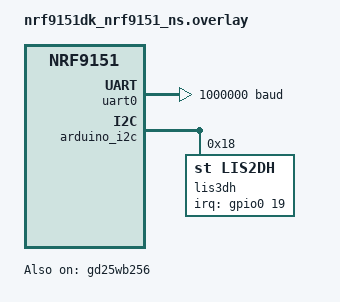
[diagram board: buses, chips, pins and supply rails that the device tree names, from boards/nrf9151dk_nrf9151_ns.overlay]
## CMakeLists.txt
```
cmake_minimum_required(VERSION 3.20.0)
find_package(Zephyr REQUIRED HINTS $ENV{ZEPHYR_BASE})
project(tracker)

target_sources(app PRIVATE
  src/main.c
  src/loc/loc_fsm.c
  src/loc/motion.c
  src/loc/imu.c
  src/loc/agnss.c
  src/modem/cell_info.c
  src/modem/gnss_ctrl.c
  src/modem/lte_ctrl.c
  src/sys/guard.c
  src/net/coap_pub.c
  src/net/obs_queue.c
  src/net/event_queue.c
  src/net/uplink.c
  src/net/log_uplink.c
  src/ui/leds.c
  # Generated from proto/tracker.proto by `make proto` — do not edit.
  src/proto/tracker.pb.c
)
target_include_directories(app PRIVATE src/loc src/modem src/net src/proto src/sys src/ui)

if(CONFIG_TRACKER_FLOG)
  target_sources(app PRIVATE src/flog/flog.c)
  target_include_directories(app PRIVATE src/flog)
endif()

if(NOT CONFIG_NRF_MODEM_LIB)
  # Nordic headers are not on the include path when NRF_MODEM_LIB=n.
  # Add them explicitly so main.c and the mock files can include them.
  target_include_directories(app PRIVATE
    $ENV{ZEPHYR_BASE}/../nrfxlib/nrf_modem/include
    $ENV{ZEPHYR_BASE}/../nrf/include
    $ENV{ZEPHYR_BASE}/scripts/native_simulator/common/src/include
  )
  # lte_lc.h gates event types and struct members behind Kconfig symbols.
  # Define the ones main.c uses so the header exposes them correctly.
  # hw_id.h gates HW_ID_LEN behind the source symbol — pick IMEI (len 16).
  target_compile_definitions(app PRIVATE
    CONFIG_LTE_LC_NETWORK_REGISTRATION_MODULE=1
    CONFIG_LTE_LC_PSM_MODULE=1
    CONFIG_LTE_LC_MODEM_EVENTS_MODULE=1
    CONFIG_HW_ID_LIBRARY_SOURCE_IMEI=1
  )
  target_sources(app PRIVATE
    src/lib/nrf_modem_mock/nrf_modem_mock.c
    src/lib/nrf_modem_mock/lte_lc_mock.c
  )
endif()
```

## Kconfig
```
menu "Tracker"

config TRACKER_LOG_LEVEL
	int "Compiled-in log level (0=off 1=ERR 2=WRN 3=INF 4=DBG)"
	default 4
	range 0 4
	help
	  The ceiling COMPILED INTO the binary for the tracker's own modules —
	  levels above it do not exist at runtime and no backend or shell
	  command can bring them back. 4 keeps the DBG chatter (status blocks,
	  satellite tables, RRC edges) available: UART shows it by default and
	  the shell can silence it; the uplink backend has its own quieter
	  threshold (TRACKER_LOG_UPLINK_LEVEL) so none of it hits the wire.

config TRACKER_POST_INTERVAL_S
	int "GPS sample interval in seconds"
	default 1
	range 1 3600
	help
	  How often a GPS fix is queued while reporting. 1 Hz matches the GNSS
	  PVT rate and costs ~7 B/point on the wire as track-segment deltas;
	  the flush cadence, not this, decides how often the radio wakes.

config TRACKER_GPS_STALE_S
	int "Seconds since last GPS fix before it's considered stale (use cell)"
	default 30
	range 10 3600

config TRACKER_SERVER_HOST
	string "CoAP server hostname or IP"
	default "127.0.0.1"
	help
	  Where observations are POSTed (coap://HOST:PORT/obs). The default suits
	  the native_sim demo; hardware builds set it via .env
	  (TRACKER_SERVER_HOST).

config TRACKER_SERVER_PORT
	int "CoAP server UDP port"
	default 5683
	range 1 65535

config TRACKER_LOC_CN0_MIN_DBHZ
	int "C/N0 floor for a satellite to count as usable (dB-Hz)"
	default 27
	range 15 45
	help
	  Below roughly 27 dB-Hz a satellite can be tracked but its navigation
	  message cannot be demodulated, so it never yields an ephemeris. Used to
	  decide whether the sky is worth taking the radio away from LTE for.

config TRACKER_FLUSH_INTERVAL_S
	int "Uplink flush interval in seconds"
	default 120
	range 10 3600
	help
	  The slow-path timer: uplink drains all sources at least this often
	  when the radio is allowed. Fullness and urgent events flush sooner.

config TRACKER_LOG_UPLINK_LEVEL
	int "Max log level shipped over LTE (1=ERR 2=WRN 3=INF 4=DBG)"
	default 3
	range 1 4
	help
	  Lines at or below this level are queued for uplink delivery. INF is
	  deliberately quiet (a handful of lines per 10 min); DBG would be
	  chatty and is meant for UART/shell use.

config TRACKER_LOG_WAKE_MIN_S
	int "Minimum seconds between log-triggered radio wakes"
	default 60
	range 5 3600
	help
	  A WRN+ log line requests an urgent uplink flush; this rate limit
	  stops an error loop from chattering the radio (and starving GNSS).

config TRACKER_LOG_UPLINK_RING_LINES
	int "Log-uplink ring capacity (lines)"
	default 128
	range 16 1024
	help
	  How many log lines queue in RAM while the radio is unavailable
	  (LTE outage, GNSS_EXCLUSIVE). ~120 B per line. Overflow drops the
	  oldest and reports the count in-band; the flash flight recorder
	  (phase 2) is the durable tier.

config TRACKER_FLOG
	bool "Flash flight recorder (circular log on the flight_log partition)"
	default y
	depends on FLASH_MAP
	help
	  Land every compiled log line in a circular flash log (FCB on the
	  fixed-partition "flight_log": 8 MB external NOR on the DK, 1 MB
	  flash_simulator on native_sim) surviving reboot and power loss.
	  Extraction via shell (`flog dump/stats`). Born from the 2026-07-17
	  wedge: 45 h of field silence whose diagnosis existed only in the
	  DBG stream nobody was recording.

config TRACKER_FLOG_LEVEL
	int "Max log level recorded to flash (1=ERR 2=WRN 3=INF 4=DBG)"
	default 4
	range 1 4
	depends on TRACKER_FLOG
	help
	  4 records everything the binary can say: ~5 days on the DK's 8 MB
	  ring at a realistic parked/riding mix, ~9 days parked (measured
	  line sizes, see flog.c). 3 stretches it to ~85 days if capacity
	  ever beats detail.

config TRACKER_FLOG_RING_LINES
	int "Flight-recorder RAM staging ring (lines)"
	default 64
	range 16 512
	depends on TRACKER_FLOG
	help
	  Lines buffered between the log backend (any thread; immediate
	  mode) and the flash drain thread, ~120 B each. Must absorb log
	  bursts across a sector-rotate erase (~1-2 s); overflow drops
	  oldest and is counted in `flog stats`.

config TRACKER_FLOG_SECTORS
	int "Flight-recorder logical sector count"
	default 32
	range 2 64
	depends on TRACKER_FLOG
	help
	  The ring rotates (erases) one logical sector at a time; each is
	  partition_size / this. More sectors = finer-grained reclaim but a
	  bigger RAM descriptor array and more frequent erase pauses.

config TRACKER_CELL_POST_INTERVAL_S
	int "Cell publish interval while GNSS has no usable sky (seconds)"
	default 30
	range 15 3600
	help
	  Deliberately slower than the normal publish interval: the gaps between
	  cell publishes are what let GNSS observe satellites, so leaving that
	  no-sky state is signal-driven rather than a blind retry timer. Below
	  ~15 s the gaps are too short for GNSS to sense anything.

config TRACKER_LOC_ACQUIRE_TIMEOUT_S
	int "Give up a quiet GNSS acquisition window after this long"
	default 300
	range 60 1800
	help
	  Bounds how long the tracker may go silent hunting ephemeris under a
	  partial sky. A product decision, not a technical one: cold start may
	  simply never complete indoors.

config TRACKER_LOC_SKY_EMPTY_EPOCHS
	int "Observed epochs with zero satellites before declaring the sky empty"
	default 5
	range 2 60
	help
	  Counted only over epochs where GNSS actually had the radio (blanked
	  epochs count toward neither verdict). Abandons an acquisition under a
	  truly empty sky (indoors, Faraday cage); a 30 s cold-start grace at
	  acquisition entry keeps a warming receiver from tripping it.

config TRACKER_MOTION_RADIUS_M
	int "Parked radius in metres"
	default 25
	range 10 200
	help
	  A fix farther than this from the parked centroid means the device
	  moved. Must sit above open-sky GPS jitter (~5-15 m) with margin;
	  below ~25 m indoor multipath causes spurious wakes (each one costs
	  a radio wake and a 5-minute re-entry wait, nothing worse).

config TRACKER_MOTION_ENTRY_S
	int "Seconds of dwell before declaring the device stationary"
	default 300
	range 60 3600
	help
	  Hysteresis against premature quiescence: getting a bike ready for
	  a ride is a few minutes of standing still and must not park the
	  tracker. Exit needs no hysteresis (one out-of-radius fix wakes it).

config TRACKER_QUIESCENT_CHECK_S
	int "Parked-with-fix position check interval (seconds)"
	default 120
	range 30 3600
	help
	  GNSS periodic-mode interval while parked with a held fix. Each
	  check is a hot start (1-3 s awake); the next check after the bike
	  moves is what detects theft, so this bounds detection latency.

config TRACKER_QUIESCENT_FLUSH_S
	int "Uplink flush interval while parked (seconds)"
	default 1200
	range 120 7200
	help
	  Radio wakes are the parked data cost (47 B datagram overhead plus
	  RRC signalling); 20 min x ~30 B check points ~= 25 KB/day parked
	  vs ~600 KB/day at the moving cadence. Motion still flushes
	  urgently via the FSM state change.

config TRACKER_REST_HEARTBEAT_S
	int "Parked-no-fix heartbeat interval (seconds)"
	default 1200
	range 120 7200
	help
	  A cell fix at this cadence is the only traffic while resting: it
	  says "alive, still on this tower". ~72/day ~= 5 KB/day. Anything
	  denser is negative information next to the last known GPS position.

config TRACKER_REST_BACKOFF_MIN_S
	int "First GNSS retry delay in REST (seconds)"
	default 300
	range 60 3600
	help
	  The periodic-mode interval on entering REST; doubles after each
	  empty check up to TRACKER_REST_BACKOFF_MAX_S. A cell-set change or
	  motion resets it.

config TRACKER_REST_BACKOFF_MAX_S
	int "Backoff ceiling for GNSS retries in REST (seconds)"
	default 1800
	range 300 14400
	help
	  Worst-case delay before a parked-indoors tracker notices the sky
	  returned on its own (carrying it outside usually exits sooner via
	  the cell change).

config TRACKER_AGNSS
	bool "Fetch A-GNSS assistance from the tracker server"
	default y
	help
	  Pull ephemeris/time/location assistance over the existing CoAP
	  socket (POST /agnss) and inject it with nrf_modem_gnss_agnss_write.
	  Turns minutes of 50 bps ephemeris demodulation (which motion keeps
	  corrupting) into a ~1 KB download. Best-effort: with the server
	  unreachable, behaviour is identical to this option being off.

config TRACKER_AGNSS_MIN_HEALTHY
	int "Fetch when fewer GPS satellites than this have usable ephemeris"
	default 8
	depends on TRACKER_AGNSS
	help
	  The drive-gap failure mode was a 4-5 satellite inventory losing
	  line-of-sight to one or two of them. 8 keeps headroom: any 4 of 8
	  visible is nearly always true under open sky.

config TRACKER_AGNSS_MIN_LEFT_MIN
	int "Minutes of remaining ephemeris validity to count as usable"
	default 30
	depends on TRACKER_AGNSS
	help
	  An ephemeris about to lapse is not worth counting: refreshing at
	  30 min remaining costs one ~1 KB fetch instead of a cold start.

config TRACKER_AGNSS_COOLDOWN_S
	int "Seconds between successful assistance fetches"
	default 1800
	depends on TRACKER_AGNSS
	help
	  Upper bound on fetch rate. Typical day: boot + every ~2 h while
	  tracking ~= 8-12 fetches ~= 12 KB/day (~0.35 MB/mo); this floor
	  caps the pathological case at 48/day (~1.6 MB/mo).

config TRACKER_OBS_FLUSH_PENDING
	int "Queued GPS points that force a flush (pressure valve)"
	default 300
	range 60 1800
	help
	  NOT the send cadence — that is TRACKER_FLUSH_INTERVAL_S, which
	  batches several 50-point segments into ONE radio session (each
	  session's fixed RRC hold chops GNSS for ~5-10 s regardless of
	  payload, so fewer+fatter sessions = fewer track holes AND fewer
	  billed sessions). This threshold only guards the ring under real
	  pressure. 300 points = 5 min of 1 Hz.

config TRACKER_LTE_CHECKPOINT
	bool "Persist modem network state at the first parked entry"
	default y
	help
	  The modem writes its network history (band, channel, PLMN, GNSS
	  data) to its own NVM only on CFUN=0 — which abrupt resets never
	  perform, making every cold boot a full scan (~90 s measured vs
	  ~35 s warm). Once per boot, when the tracker first parks, cycle
	  CFUN 0->1: one re-attach at an idle moment buys the next reset a
	  warm attach. Shell: `checkpoint on|off`.

config TRACKER_GUARD_WDT_S
	int "Main-loop watchdog timeout (seconds)"
	default 120
	range 30 600
	help
	  A loop pass that takes longer than this reboots the SoC (task_wdt;
	  see src/sys/guard.c). Two field freezes (2026-07-17, 2026-07-21)
	  wedged the loop inside blocking modem calls for hours. Must exceed
	  the longest legitimate stall: the 8 s A-GNSS exchange, DNS over a
	  fresh PDN, and the LTE checkpoint's CFUN cycle. 120 s is generous;
	  a frozen tracker recovers ~90 s sooner than any human would notice.

config TRACKER_SIM_DEVICE_ID
	string "native_sim fallback device ID"
	default "sim-dev-1"
	help
	  Used by the native_sim hw_id_get() stub when the TRACKER_DEVICE_ID
	  environment variable is unset. Ignored on hardware (IMEI is used).

endmenu

menu "Zephyr Kernel"
source "Kconfig.zephyr"
endmenu
```

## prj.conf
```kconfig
# TF-M: minimal profile (no bootloader partition)
CONFIG_TFM_PROFILE_TYPE_MINIMAL=y

# General
CONFIG_FPU=y
CONFIG_STDOUT_CONSOLE=y
CONFIG_UART_INTERRUPT_DRIVEN=y
CONFIG_PICOLIBC_IO_FLOAT=y

# Logging. Compile-in DBG for our modules (4): UART shows the full chatter,
# the uplink backend's own INF threshold keeps it off the wire, and the
# shell's `log` commands (LOG_CMDS) adjust levels at runtime.
CONFIG_LOG=y
CONFIG_LOG_MODE_IMMEDIATE=y
CONFIG_TRACKER_LOG_LEVEL=4
CONFIG_LOG_CMDS=y
CONFIG_LTE_LINK_CONTROL_LOG_LEVEL_INF=y
CONFIG_NRF_MODEM_LIB_LOG_LEVEL_WRN=y

# Modem
CONFIG_NRF_MODEM_LIB=y

# RAT preference: NB-IoT first. Modem-trace forensics (2026-07-12, on the
# tested setup: an NB-IoT-only roaming profile) showed the default
# LTE-M-first preference makes every boot hunt LTE-M, fail, and sleep
# ~60 s before trying NB — the whole "attach wall". Both RATs stay
# ENABLED (PLMN priority keeps roaming sane where LTE-M exists); only the
# search order flips, so this default is harmless on LTE-M networks too.
CONFIG_LTE_MODE_PREFERENCE_NBIOT_PLMN_PRIO=y

# Device ID: use the modem IMEI
CONFIG_HW_ID_LIBRARY=y
CONFIG_HW_ID_LIBRARY_SOURCE_IMEI=y

# LTE Link Control: persistent connection. The SIM-provider APN is NOT
# hardcoded here — set TRACKER_APN in .env (see mk/fw.mk); empty uses the
# SIM's own default APN.
CONFIG_LTE_LINK_CONTROL=y
CONFIG_LTE_LC_PSM_MODULE=y
CONFIG_LTE_PSM_REQ=y
CONFIG_LTE_PSM_REQ_RPTAU="00101000"
CONFIG_LTE_PSM_REQ_RAT="00000011"
CONFIG_LTE_LC_PDN_MODULE=y
# Modem observability: %MDMEV events (search phases, reset loops, CE level)
# surface as LTE_LC_EVT_MODEM_EVENT and ship over the log uplink — the
# fine-grained view of what "searching" is actually doing.
CONFIG_LTE_LC_MODEM_EVENTS_MODULE=y
# Search-scheduling experiment: front-load retry attempts after a failed
# boot search (measured: light search fails at +9 s, modem then idles ~60 s
# before the full search that succeeds in 6 s).
CONFIG_LTE_LC_PERIODIC_SEARCH_MODULE=y
# %XSIM notifications time SIM readiness — attributes the boot gap.
CONFIG_AT_MONITOR=y

# RAI: SO_RAI(RAI_LAST) goes on the CoAP UDP socket right before each send, so
# the modem asks the network to release RRC as soon as the datagram is out.
# Over UDP nothing comes back, so the release really is immediate (unlike the
# old TCP path, where the broker's ACK held RRC up afterwards).
CONFIG_LTE_LC_RAI_MODULE=y
CONFIG_LTE_RAI_REQ=y

# Networking: offloaded IP via modem (UDP only — no TCP since MQTT left)
CONFIG_NETWORKING=y
CONFIG_NET_SOCKETS=y
CONFIG_NET_SOCKETS_OFFLOAD=y
CONFIG_NET_NATIVE=n
CONFIG_NET_IPV4=y
CONFIG_POSIX_API=y

# CoAP over UDP: non-confirmable POSTs for observations, confirmable for the
# A-GNSS exchange; protobuf payloads (proto/tracker.proto, encoded with
# nanopb). No connection and no keepalive — UDP is silent between sends,
# which is what keeps GNSS acquisition windows intact without any keepalive
# tuning.
CONFIG_COAP=y
CONFIG_NANOPB=y

# State at a glance on the DK's four user LEDs (see src/ui/leds.h).
CONFIG_GPIO=y

# Flash flight recorder (src/flog): every compiled log line into a circular
# flash log on the flight_log partition — the durable tier under the RAM
# log-uplink ring. FCB is the in-tree circular-buffer-on-flash primitive.
CONFIG_FLASH=y
CONFIG_FLASH_MAP=y
CONFIG_FCB=y

# Shell on the console: runtime per-module log levels (`log enable dbg
# loc_fsm`) — the clear/set-level/test/inspect workflow with no custom
# protocol. Runtime filtering is what makes the `log` commands real.
CONFIG_SHELL=y
CONFIG_LOG_RUNTIME_FILTERING=y

# Memory
CONFIG_HEAP_MEM_POOL_SIZE=8192
CONFIG_MAIN_STACK_SIZE=4096
CONFIG_SYSTEM_WORKQUEUE_STACK_SIZE=2048

# Accelerometer (LIS3DH on the Arduino-header I2C, see boards/ overlay and
# loc/imu.c): the parked wake source. The global-thread trigger delivers
# the any-motion interrupt.
CONFIG_I2C=y
CONFIG_SENSOR=y
CONFIG_LIS2DH_TRIGGER_GLOBAL_THREAD=y
```

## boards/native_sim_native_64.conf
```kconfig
# native_sim/native/64: NSOS — zsock_* run against the host kernel.
# No TAP interface, no root, no net-setup required.

# Disable real modem — link-seam mocks fill all missing symbols
CONFIG_NRF_MODEM_LIB=n
CONFIG_LTE_LINK_CONTROL=n
CONFIG_TFM_PROFILE_TYPE_MINIMAL=n

# hw_id: real library needs the modem; mock provides hw_id_get() instead
CONFIG_HW_ID_LIBRARY=n
CONFIG_HW_ID_LIBRARY_SOURCE_IMEI=n

# Suppress prj.conf LTE/modem symbols that don't exist without LTE_LINK_CONTROL
CONFIG_LTE_LC_PSM_MODULE=n
CONFIG_LTE_LC_PDN_MODULE=n
CONFIG_LTE_PSM_REQ=n
CONFIG_LTE_LC_PDN_DEFAULTS_OVERRIDE=n

# Disable hardware-specific configs not valid on host
CONFIG_FPU=n
CONFIG_UART_INTERRUPT_DRIVEN=n

# NSOS networking: offload sockets to host BSD socket calls
CONFIG_NETWORKING=y
CONFIG_NET_DRIVERS=y
CONFIG_NET_SOCKETS=y
CONFIG_NET_SOCKETS_OFFLOAD=y
CONFIG_NET_NATIVE_OFFLOADED_SOCKETS=y
CONFIG_ETH_NATIVE_TAP=n
CONFIG_NET_L2_ETHERNET=n
CONFIG_NET_IPV6_DAD=n

# RAI is modem-only; suppress the prj.conf symbols (LTE_LINK_CONTROL=n here)
CONFIG_LTE_LC_RAI_MODULE=n
CONFIG_LTE_RAI_REQ=n

# at_monitor needs real modem headers; %XSIM timing is hardware-only.
CONFIG_AT_MONITOR=n

# Flight recorder on the host: sim-flash driver backs the flight_log
# partition (see the .overlay). RAM-backed per run; --flash_in=/--flash=
# args persist it across "reboots" when a test wants that.
CONFIG_FLASH_SIMULATOR=y
```

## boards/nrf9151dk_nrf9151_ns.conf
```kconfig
# DK-only drivers for the flight recorder's flash: the GD25WB256 NOR hangs
# off SPI3 (see the overlay). SFDP parameters come from the devicetree
# sfdp-bfp blob the board dts ships — no runtime SFDP read on every boot.
CONFIG_SPI=y
CONFIG_SPI_NOR=y
CONFIG_SPI_NOR_SFDP_DEVICETREE=y

# guard (src/sys/guard.c): task watchdog on the main loop + labeled reboots.
# Hardware-only: two field freezes (2026-07-17, 2026-07-21) wedged the loop
# and modem callbacks at 12-14 h uptime with nothing to catch it. native_sim
# stays unguarded (sys_reboot there ends the process; the sim's failure
# modes are ours to see live).
CONFIG_WATCHDOG=y
CONFIG_TASK_WDT=y
CONFIG_REBOOT=y
# A modem-core crash reboots the SoC with a named note instead of leaving
# every nrf_modem call blocking forever (the default is DO_NOTHING).
CONFIG_NRF_MODEM_LIB_ON_FAULT_APPLICATION_SPECIFIC=y
```

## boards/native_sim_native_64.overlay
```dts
/* Flight recorder on the simulator: the board's 2 MB sim-flash only maps
 * partitions over its first half (mcuboot/slots/storage, unused by this
 * app) — the second megabyte is free, so the flight_log ring claims it.
 * Same node label as the hardware overlay: src/flog binds by label. */
&flash0 {
	partitions {
		flight_log: partition@100000 {
			label = "flight-log";
			reg = <0x00100000 0x00100000>;
		};
	};
};
```

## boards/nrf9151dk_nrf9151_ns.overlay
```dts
/* No MCUboot — TF-M boots directly */
#include <samples/cellular/nrf91_no_bootloader_partitions.dtsi>
#include <samples/cellular/nrf91_sram_partitions.dtsi>

/* Console at 1 Mbaud: 115200 (~11.5 KB/s) is fine for live logging but a
 * wall for forensic dumps — the 2 MB flight-recorder tape took ~3 min, and
 * a future 24 MB modem-trace dump would take ~35. The DK's interface MCU
 * bridges 1 M happily (Nordic's own modem-trace UART runs at 1 M through
 * it). make uart matches (BAUD in mk/fw.mk); a default-115200 terminal
 * shows garbage until told otherwise. */
&uart0 {
	current-speed = <1000000>;
};

/* Adafruit LIS3DH accelerometer (the parked wake source — see loc/imu.c):
 *   SDA -> P0.30 (D14), SCL -> P0.31 (D15), VIN -> VDD, INT1 -> P0.19 (A5).
 * SDO/CS untouched: breakout defaults = I2C mode, address 0x18. Absent
 * chip is fine — imu_init() fails and the tracker runs legacy parked mode.
 * anym-mode stays OR (default): imu.c routes the HP filter into the INT
 * engine (CTRL_REG2 poke), so gravity never reaches the comparator; 6D
 * modes were bench-rejected (blind to tumbling between orientation zones).
 */
/* INT1 shares Button 4 (P0.19); disable it so the sensor owns the line. */
&button3 {
	status = "disabled";
};

&arduino_i2c {
	status = "okay";
	lis3dh: lis3dh@18 {
		compatible = "st,lis2dh";
		reg = <0x18>;
		irq-gpios = <&gpio0 19 GPIO_ACTIVE_HIGH>;
		anym-on-int1;
	};
};

/* The DK's on-board 32 MB NOR (GD25WB256, SPI3): flight recorder ring in
 * the first 8 MB; 0x800000..0x2000000 deliberately unallocated — reserved
 * for the Phase-2 obs spill. Layout is hardcoded here on purpose (no GPT):
 * this devicetree IS the partition table. */
&gd25wb256 {
	status = "okay";
	partitions {
		compatible = "fixed-partitions";
		#address-cells = <1>;
		#size-cells = <1>;

		flight_log: partition@0 {
			label = "flight-log";
			reg = <0x00000000 0x00800000>;
		};
	};
};
```

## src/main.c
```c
/*
 * nRF9151 GPS tracker — active mode
 *
 * loc_fsm decides who gets the shared radio (GNSS vs LTE) and what to publish;
 * this file executes that policy: modem bring-up and the publish loop. Reports
 * go as protobuf (proto/tracker.proto, encoders generated by nanopb) in
 * non-confirmable CoAP POSTs over UDP — fire-and-forget like the old MQTT
 * QoS 0, but ~4x cheaper on air and with no TCP ACK tail holding RRC open.
 * LTE registers once at boot and stays registered — PSM parks the radio between
 * sends, which is what gives GNSS its acquisition windows.
 */

#include <stdio.h>
#include <stdlib.h>
#include <string.h>
#include <errno.h>
#include <math.h>
#include <zephyr/kernel.h>
#include <zephyr/logging/log.h>
#include <nrf_modem_gnss.h>
#include <modem/nrf_modem_lib.h>
#include <hw_id.h>

#include "loc_fsm.h"
#include "motion.h"
#include "imu.h"
#include "agnss.h"
#include "cell_info.h"
#include "gnss_ctrl.h"
#include "lte_ctrl.h"
#include "coap_pub.h"
#include "obs_queue.h"
#include "event_queue.h"
#include "uplink.h"
#include "log_uplink.h"
#include "leds.h"
#include "guard.h"
#ifdef CONFIG_TRACKER_FLOG
#include "flog.h"
#endif

LOG_MODULE_REGISTER(tracker, CONFIG_TRACKER_LOG_LEVEL);

/* ── configuration ──────────────────────────────────────────────── */
#define SERVER_HOST       CONFIG_TRACKER_SERVER_HOST
#define SERVER_PORT       CONFIG_TRACKER_SERVER_PORT

#define POST_INTERVAL_MS  (CONFIG_TRACKER_POST_INTERVAL_S * 1000)
#define STATUS_INTERVAL_MS 5000
/* GPS staleness now lives in loc_fsm, which owns the fix bookkeeping. */
#define NET_RETRY_MS      10000  /* between socket-setup attempts */
/* Flush cadence and all other send policy live in uplink now. */

/* ── state ───────────────────────────────────────────────────────── */
static char device_id[HW_ID_LEN];

/* ── status block ─────────────────────────────────────────────────  */
static void print_status(const struct nrf_modem_gnss_pvt_data_frame *p,
			 const struct loc_status *loc,
			 const struct ephe_inventory *inv, int64_t uptime_ms,
			 bool gnss_live)
{
	LOG_DBG("===== status @ %llds =====", (long long)(uptime_ms / 1000));

	/* LTE status: registration state + serving-cell details (same cached
	 * AT%XMONITOR read used for the cell-location fallback). */
	struct serving_cell sc;

	if (cell_info_read(&sc) == 0 && sc.valid) {
		LOG_DBG("LTE:  %s | op %s | band %d | cell %u | RSRP %d dBm",
			lte_ctrl_status_str(), sc.op, sc.band, sc.cid,
			sc.rsrp_dbm);
	} else {
		LOG_DBG("LTE:  %s", lte_ctrl_status_str());
	}

	/* GNSS status. With the receiver stopped, the pvt buffer is a frozen
	 * frame — narrating it as "searching" misled a live debug session. */
	if (!gnss_live) {
		LOG_DBG("GNSS: off");
	} else if (p->flags & NRF_MODEM_GNSS_PVT_FLAG_FIX_VALID) {
		LOG_DBG("GNSS: FIX  %.6f, %.6f  alt %.1fm  acc %.1fm  sats %u/%u",
			p->latitude, p->longitude,
			(double)p->altitude, (double)p->accuracy,
			loc->used, loc->tracked);
	} else {
		LOG_DBG("GNSS: searching  flags 0x%02x", p->flags);
		/* These two mean different things and want different fixes:
		 *   DEADLINE_MISSED        no window at all since the last PVT — LTE
		 *                          is transmitting; only backing off LTE helps.
		 *   NOT_ENOUGH_WINDOW_TIME windows exist but are too short — the case
		 *                          nrf_modem_gnss_prio_mode_enable() is for.
		 *
		 * Both are CONDITIONS, not events: they persist for minutes during
		 * LTE/GNSS contention, and per-pass WRNs would flood the uplink
		 * (dozens of lines per episode). Log the edges — onset at WRN,
		 * clear at INF — and leave the per-pass view to the DBG flags line
		 * above. Same pattern as the gnss_blocked edge. */
		static bool no_window_prev, short_window_prev;
		bool no_window = p->flags & NRF_MODEM_GNSS_PVT_FLAG_DEADLINE_MISSED;
		bool short_window =
			p->flags & NRF_MODEM_GNSS_PVT_FLAG_NOT_ENOUGH_WINDOW_TIME;

		/* These edges diagnose LTE/GNSS contention during CONTINUOUS
		 * tracking. In periodic mode every uplink flush trivially chops
		 * the sleeping receiver — the overnight parked log was 137 WRNs
		 * of exactly that. Meaningless there; don't evaluate. */
		if (loc->gnss_mode != LOC_GNSS_CONTINUOUS) {
			no_window_prev = no_window;
			short_window_prev = short_window;
		} else {
			if (no_window != no_window_prev) {
				no_window_prev = no_window;
				if (no_window) {
					LOG_WRN("GNSS: no window since last PVT (LTE active)");
				} else {
					LOG_INF("GNSS: windows back");
				}
			}
			if (short_window != short_window_prev) {
				short_window_prev = short_window;
				if (short_window) {
					LOG_WRN("GNSS: windows too short (no PSM/eDRX?)");
				} else {
					LOG_INF("GNSS: window length ok");
				}
			}
		}
	}
	loc_fsm_log(loc, p, inv);

	int psm_tau_s, psm_active_s;

	lte_ctrl_psm(&psm_tau_s, &psm_active_s);
	if (psm_active_s < 0) {
		LOG_DBG("LTE:  RRC %s | PSM not granted",
			lte_ctrl_rrc_connected() ? "connected" : "idle");
	} else {
		LOG_DBG("LTE:  RRC %s | PSM TAU %ds active %ds",
			lte_ctrl_rrc_connected() ? "connected" : "idle",
			psm_tau_s, psm_active_s);
	}

	/* PDN state next to socket state, so a "no socket" that is really
	 * "PDN not up yet" is obvious in the log. */
	LOG_DBG("net:  %s | pdn %s", coap_pub_ready() ? "ready" : "no socket",
		lte_ctrl_pdn_active() ? "active" : "down");
}

/* Send-health policy (the uplink liveness watchdog): the offloaded send is
 * bounded by SO_SNDTIMEO, so a wedged modem surfaces as timeout errors from
 * uplink_poll instead of a frozen loop. Episode shape, agreed 2026-07-23:
 * first timeout = one WRN + a modem post-mortem (%CONEVAL/+CEER/+CEREG into
 * flash — may itself hang, which the watchdog turns into its own evidence);
 * a second consecutive timeout = the modem answers nothing a reset would
 * not fix faster — guard reboot with a named note. A success in between
 * closes the episode at INF. Only timeout errnos escalate: encode bugs and
 * socket races are not modem death. */
static uint8_t send_fail_streak;

/* A datagram left the device: pulse the TX LED, stamp the RRC-tail
 * measurement, and tell the FSM when the coarse position is on the map (it
 * holds the radio for GNSS until the boot cell report is out). */
static void on_uplink_sent(uint32_t kinds_mask)
{
	leds_tx_pulse();
	lte_ctrl_note_publish(k_uptime_get());
	if (kinds_mask & UPLINK_KIND_CELL) {
		loc_fsm_note_cell_sent();
	}
	if (send_fail_streak) {
		send_fail_streak = 0;
		LOG_INF("uplink sends recovered");
	}
}

/* ── main ─────────────────────────────────────────────────────────  */
int main(void)
{
	int err;

	/* Flight recorder first: the boot lines below are exactly the ones a
	 * post-mortem wants. Failure leaves it offline, never blocks boot. */
#ifdef CONFIG_TRACKER_FLOG
	(void)flog_init();
#endif

	LOG_INF("tracker starting");
	/* Right after the boot identity: if the last session died (watchdog,
	 * modem fault), its death certificate is the next line out. */
	guard_init();

	err = nrf_modem_lib_init();
	if (err) {
		LOG_ERR("modem init: %d", err);
		return err;
	}

	/* Device identity: IMEI on hardware, env/Kconfig on native_sim */
	err = hw_id_get(device_id, sizeof(device_id));
	if (err) {
		LOG_ERR("hw_id_get: %d", err);
		return err;
	}
	LOG_INF("device id: %s", device_id);
	LOG_INF("server: coap://%s:%d/obs", SERVER_HOST, SERVER_PORT);
	/* Uplink owns the envelope + flush policy; obs store and the log ring
	 * register as its sources. GPS samples land at the publish interval —
	 * a track segment's time model (anchor + i*dt) is built on it. */
	uplink_init(device_id);
	uplink_on_sent(on_uplink_sent);
	obs_queue_init(POST_INTERVAL_MS);
	event_queue_init();
	log_uplink_init();
	agnss_set_device_id(device_id);
	leds_init();

	/* Start LTE async — don't block, status loop shows progress */
	LOG_INF("starting LTE (async)...");
	err = lte_ctrl_start();
	if (err) {
		return err;
	}

	/* Configure GNSS but do NOT start it yet. An unregistered modem runs a
	 * continuous cell search; GNSS running against that starves the search and
	 * gains nothing itself. loc_fsm starts it once LTE has registered. */
	err = gnss_ctrl_configure();
	if (err) {
		LOG_ERR("gnss configure: %d", err);
		return err;
	}
	bool gnss_blocked_prev = false;
	/* Snapshot of the most recent PVT frame with FIX_VALID set. The live `pvt`
	 * global only carries defined lat/lon while the flag is set, but the FSM
	 * lets us publish for up to GPS_STALE_S after the fix lapses -- those
	 * publishes must come from this copy, not from whatever an unfixed frame
	 * happens to contain. (static: ~700 B, keep off the main stack) */
	static struct nrf_modem_gnss_pvt_data_frame fix_pvt;
	int64_t fix_pvt_ms = 0; /* when fix_pvt was captured, for the age field */

	/* Wake-PVT forensics (phantom investigation, 2026-07-12): the
	 * receiver marks the first PVT after a duty-cycle sleep
	 * (SLEEP_BETWEEN_PVT) and frames from its self-scheduled ephemeris
	 * downloads (SCHED_DOWNLOAD) — exactly the epochs implicated in the
	 * 501 m time-true/position-stale point. Hold the newest one and log
	 * it when the FSM leaves a parked state, so departure points arrive
	 * pre-labeled: one INF line per departure, never per wake (a parked
	 * night has ~720 wakes; the wire budget says no). */
	static struct {
		int64_t ms;
		bool slept;
		bool sched;
		bool fix;
		float acc;
	} last_wake;
	uint32_t wake_pvts = 0, wake_fixes = 0, sched_pvts = 0;

	int64_t last_post_ms   = 0;
	int64_t queued_fix_ms  = 0;
	int64_t last_acq_log_ms = 0;
	int64_t last_status_ms = 0;
	int64_t next_net_ms    = 0;
	enum loc_state prev_state = LOC_LTE_ATTACH;
	struct loc_status loc = { .state = LOC_LTE_ATTACH };

	loc_fsm_init(k_uptime_get());
	motion_init(k_uptime_get());
	/* Boot picks the parked mode: IMU present = GNSS off while parked,
	 * accelerometer owns departure; absent = legacy periodic checks.
	 * Trusted absolutely after this probe — no runtime health checks.
	 * The LED pulse is wired here (before triggers can fire) so imu never
	 * depends on ui. */
	imu_on_motion(leds_imu_pulse);
	loc_fsm_set_imu_wake(imu_init());
	LOG_INF("IMU: %s", imu_present() ?
		"present — quiescent wake source is the accelerometer" :
		"absent — quiescent wake source is GPS checks");

	for (;;) {
		/* One feed per pass: any pass that stalls past
		 * TRACKER_GUARD_WDT_S (a blocking modem call that never
		 * returns — both field freezes) reboots into a clean session
		 * with a named death note instead of a silent coma. */
		guard_feed();

		/* Wait for next PVT event (1 Hz) with a 2s timeout so the
		 * status block still prints even if GNSS is blocked by LTE. */
		gnss_ctrl_wait_pvt(K_SECONDS(2));

		const struct nrf_modem_gnss_pvt_data_frame *pvt = gnss_ctrl_pvt();
		int64_t now = k_uptime_get();

		/* One inventory digest per pass; loc_fsm and agnss read the
		 * same snapshot (the C2 gate and the fetch trigger must agree). */
		gnss_ctrl_poll_inventory(now);

		const struct ephe_inventory *inv = gnss_ctrl_inventory();

		/* With GNSS stopped (PARKED in IMU mode, LTE_ATTACH) the pvt
		 * buffer is a FROZEN copy of the last frame — often FIX_VALID
		 * from the parking fix. Re-processing it every 2 s tick would
		 * ghost-refresh staleness, motion evidence and wake forensics
		 * forever; treat it as no observation at all. */
		bool gnss_live = (gnss_ctrl_mode() != LOC_GNSS_OFF);

		if (gnss_live &&
		    (pvt->flags & (NRF_MODEM_GNSS_PVT_FLAG_SLEEP_BETWEEN_PVT |
				   NRF_MODEM_GNSS_PVT_FLAG_SCHED_DOWNLOAD))) {
			last_wake.ms    = now;
			last_wake.slept = pvt->flags &
				NRF_MODEM_GNSS_PVT_FLAG_SLEEP_BETWEEN_PVT;
			last_wake.sched = pvt->flags &
				NRF_MODEM_GNSS_PVT_FLAG_SCHED_DOWNLOAD;
			last_wake.fix   = pvt->flags &
				NRF_MODEM_GNSS_PVT_FLAG_FIX_VALID;
			last_wake.acc   = pvt->accuracy;
			wake_pvts++;
			wake_fixes += last_wake.fix;
			sched_pvts += last_wake.sched;
		}

		static const struct nrf_modem_gnss_pvt_data_frame quiet = {
			.flags = NRF_MODEM_GNSS_PVT_FLAG_DEADLINE_MISSED,
		};

		if (gnss_live &&
		    (pvt->flags & NRF_MODEM_GNSS_PVT_FLAG_FIX_VALID)) {
			/* Known cosmetic quirk, deliberately NOT special-cased:
			 * the first fix after a periodic-mode sleep can carry a
			 * near-pre-sleep position (solver seeded with held state;
			 * field-observed once, 501 m off, corrected next epoch;
			 * DevZone-corroborated class). Pipeline audit 2026-07-12
			 * proved timestamps are capture-time end-to-end, so such
			 * a point is time-true/position-stale. One odd map point
			 * per rare wake beats permanently shipped validation
			 * logic that may never fire again — detect in the DB via
			 * impossible implied speed if it ever matters. */
			fix_pvt = *pvt;
			fix_pvt_ms = now;
			motion_note_gps(pvt->latitude, pvt->longitude,
					(double)pvt->accuracy, now);
		}

		/* IMU any-motion interrupt. While quiescent it is the WAKE:
		 * raise an alert event (jumps the uplink queue, so the server
		 * learns "your asset moved" within seconds) and break the
		 * stationary verdict so the FSM leaves for REPORT_CELL.
		 * While already moving it is noise the verdict reflects. */
		if (imu_take_motion()) {
			if (loc.state == LOC_QUIESCENT) {
				event_queue_add(EVENT_REASON_IMU_WAKE, now);
			}
			motion_note_imu(now);
		}

		/* Policy first: it owns the fix-staleness and ephemeris bookkeeping.
		 * The supply verdict gates the C2 escalation (see loc_fsm.h). */
		loc_fsm_set_agnss_supply(agnss_supply_ok());
		loc_fsm_update(gnss_live ? pvt : &quiet, inv, now,
			       lte_ctrl_registered(), motion_stationary(now),
			       &loc);
		leds_update(&loc, lte_ctrl_registered());

		/* First parked entry of this boot: checkpoint the modem's NVM
		 * (see lte_ctrl.c). CFUN=0 takes everything down — socket,
		 * registration, GNSS — so close the socket and force the GNSS
		 * mode to be reapplied; the FSM sees the registration drop and
		 * walks the normal re-attach path. */
		if (loc.state == LOC_QUIESCENT && lte_ctrl_checkpoint_due()) {
			coap_pub_close();
			lte_ctrl_checkpoint();
			gnss_ctrl_mark_off();
		}

		/* Apply the FSM's GNSS mode. Runs GNSS only when the FSM says
		 * so (a searching modem owns the radio), and switches between
		 * continuous 1 Hz and the modem's periodic-navigation mode
		 * when the parked states ask for it. */
		gnss_ctrl_apply(loc.gnss_mode, loc.gnss_interval_s);

		/* GNSS_EXCLUSIVE: take the LTE stack down entirely so idle-mode
		 * DRX/reselection can't slice GNSS; bring it back on exit. GNSS
		 * keeps running across both edges — DEACTIVATE_LTE leaves it be. */
		if (!loc.lte_wanted && lte_ctrl_stack_on()) {
			LOG_WRN("deactivating LTE — GNSS gets the radio outright");
			(void)lte_ctrl_set_stack(false);
			coap_pub_close(); /* socket dies with the PDN */
		} else if (loc.lte_wanted && !lte_ctrl_stack_on()) {
			LOG_INF("re-activating LTE (re-attach follows)");
			(void)lte_ctrl_set_stack(true);
		}

		/* A PDN drop (deactivation or network-side) orphans the UDP socket;
		 * recreate it when the PDN returns rather than sending into a void. */
		if (!lte_ctrl_pdn_active() && coap_pub_ready()) {
			LOG_WRN("PDN down — closing CoAP socket");
			coap_pub_close();
		}

		/* Deferred LTE work (the CEER post-mortem after a loss). */
		lte_ctrl_poll();

		/* EVT_BLOCKED/UNBLOCKED arrive in ISR context; log the edge here. */
		if (gnss_ctrl_blocked() != gnss_blocked_prev) {
			gnss_blocked_prev = !gnss_blocked_prev;
			LOG_DBG("GNSS: %s by LTE",
				gnss_blocked_prev ? "blocked" : "unblocked");
		}

		/* One-time UDP socket setup, retried on failure. Needs LTE up (DNS
		 * goes over the PDN) and is gated on publish_allowed so even the
		 * getaddrinfo exchange stays out of GNSS quiet windows. There is no
		 * connection to keep alive: UDP is silent between sends by nature,
		 * which is the whole point of the CoAP move. Gated on pdn_active
		 * too: before the default PDN has an IP, getaddrinfo/socket can
		 * only fail. (Always true on native_sim.) */
		if (loc.publish_allowed && lte_ctrl_pdn_active() &&
		    lte_ctrl_registered() && !coap_pub_ready() &&
		    now >= next_net_ms) {
			next_net_ms = now + NET_RETRY_MS;
			if (coap_pub_init(SERVER_HOST, SERVER_PORT)) {
				LOG_WRN("CoAP setup failed (retry in %d s)",
					NET_RETRY_MS / 1000);
			}
		}

		/* Acquisition forensics: while hunting (or waiting on a stale
		 * fix), ship one compact sky snapshot at INF every 30 s so a
		 * drive-time acquisition failure is diagnosable from the server
		 * — the per-satellite DBG table never leaves UART. Bounded:
		 * ~70 B/line only while unfixed, so a 5-min episode is ~700 B.
		 * ephe V/H: V of the H satellites we hold ephemeris for are
		 * currently visible; a fix needs 4 visible. */
		bool hunting = (loc.state == LOC_GNSS_ACQUIRE ||
				loc.state == LOC_GNSS_EXCLUSIVE ||
				(loc.state == LOC_REPORT_GNSS && !loc.gps_current));
		if (hunting && now - last_acq_log_ms >= 30000) {
			last_acq_log_ms = now;
			LOG_INF("acq: %s tracked %u strong %u ephe %u/%u empty %u pdop %.1f",
				loc_state_str(loc.state), loc.tracked, loc.strong,
				loc.ephemeris_visible, loc.ephemeris_held,
				loc.sky_empty, (double)loc.pdop);
		}

		/* Status block every STATUS_INTERVAL_MS */
		/* While quiescent nothing changes second to second; a calm
		 * device should read calm on the console too. */
		int64_t status_ivl = (loc.state == LOC_QUIESCENT)
			? 60000 : STATUS_INTERVAL_MS;
		if (now - last_status_ms >= status_ivl) {
			last_status_ms = now;
			print_status(pvt, &loc, inv, now, gnss_live);
			if (wake_pvts) {
				/* UART-only prevalence stats (DBG never
				 * ships): do ALL wakes carry the flag? */
				LOG_DBG("wake: %u pvts %u fixes %u sched-dl",
					wake_pvts, wake_fixes, sched_pvts);
			}
		}

		/* SAMPLE at the FSM's cadence — free, no radio involved. GPS
		 * samples come from the fix-valid snapshot; within ~10 m of the
		 * previous point they queue as 4 B repeat entries. */
		if (loc.publish_allowed && now - last_post_ms >= loc.publish_interval_ms) {
			last_post_ms = now;
			if (!loc.prefer_cell) {
				/* Only if the snapshot is NEW: while LTE holds the
				 * radio GNSS produces no PVT, and re-queueing the
				 * same snapshot each interval shipped identical
				 * points 10x (seen in the server DB). */
				if (fix_pvt_ms != queued_fix_ms) {
					queued_fix_ms = fix_pvt_ms;
					obs_queue_add_gps(&fix_pvt, fix_pvt_ms);
				}
			} else if (lte_ctrl_registered()) {
				struct serving_cell sc;
				/* Condition, not event: don't repeat the WRN every
				 * cell interval while XMONITOR keeps failing. */
				static bool cell_unavail;

				if (cell_info_read(&sc) == 0 && sc.valid) {
					cell_unavail = false;
					obs_queue_add_cell(sc.mcc, sc.mnc, sc.tac,
							   sc.cid, sc.rsrp_dbm,
							   sc.act, now);
					motion_note_cell(sc.cid, now);
				} else if (!cell_unavail) {
					cell_unavail = true;
					LOG_WRN("serving cell unavailable");
				}
			}
		}

		/* SHIP: uplink owns all flush policy (timer / fullness / urgent).
		 * We hand it the radio verdict and tick it; a state change is
		 * the one policy input only this loop can see (a fresh fix or
		 * boot cell report should reach the map now, not in 2 min). */
		if (loc.state != prev_state) {
			/* Departure forensics: label what the wake's PVT
			 * claimed, once, before prev_state is overwritten. */
			if (prev_state == LOC_QUIESCENT && last_wake.ms != 0) {
				LOG_INF("GNSS: wake PVT %ds ago: sleep=%d "
					"sched-dl=%d fix=%d acc=%d",
					(int)((now - last_wake.ms) / 1000),
					last_wake.slept, last_wake.sched,
					last_wake.fix, (int)last_wake.acc);
				last_wake.ms = 0; /* log each wake once */
			}
			prev_state = loc.state;
			uplink_request_flush(UPLINK_FLUSH_URGENT);
		}
		/* Parked = slow flush timer. Keyed on the FSM state (not the
		 * raw verdict) so shipping only slows once actually quiesced;
		 * the QUIESCENT->REPORT_GNSS transition urgent-flushes above,
		 * so motion still reaches the map in seconds. */
		uplink_set_flush_interval(loc.state == LOC_QUIESCENT
			? (uint32_t)CONFIG_TRACKER_QUIESCENT_FLUSH_S * 1000
			: (uint32_t)CONFIG_TRACKER_FLUSH_INTERVAL_S * 1000);
		uplink_set_allowed(loc.publish_allowed);

		int uerr = uplink_poll(now);

		if (uerr == -EAGAIN || uerr == -ETIMEDOUT) {
			send_fail_streak++;
			if (send_fail_streak == 1) {
				LOG_WRN("uplink send timed out — modem "
					"unresponsive? (retry next flush)");
				lte_ctrl_post_mortem();
			} else {
				guard_modem_dead(); /* no return on hardware */
			}
		}

		/* A-GNSS: opportunistic assistance fetch while the radio is
		 * already ours (the FSM's agnss_fetch_allowed verdict; fetch
		 * execution and pacing live in agnss.c). */
		agnss_poll(now, &loc, inv);
	}

	return 0;
}
```
